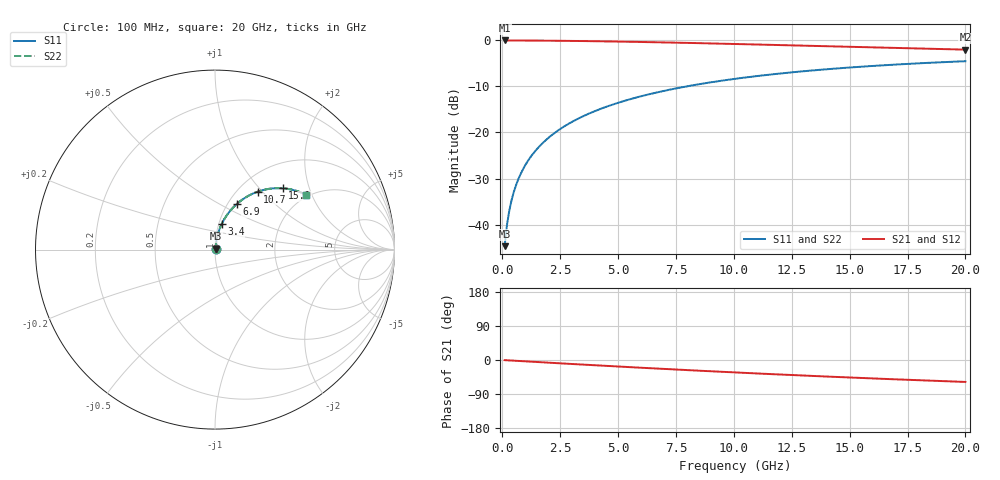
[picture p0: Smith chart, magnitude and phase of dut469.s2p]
! Touchstone file exported from HFSS 2026.1.0
!  File:  C:/ffzhzh/LocalFiles/Ansys_Project_Files/temp_train_BSMRDL_469_1783013627_55676.aedt
!  Generated:  01:35:27 AM Jul  3, 2026
!  Design:  BSMRDL
!  Project:  temp_train_BSMRDL_469_1783013627_55676
! Variables:
!  h_bsmrdl = 5.91um
!  h_ox = 20um
!  h_rdl = 5um
!  h_sub = 80um
!  h_tmrdl = 5um
!  h_tsv = 80um
!  h_via = 3um
!  l_bsmrdl = 841.24um
!  l_sub = 1241.24um
!  l_tmrdl = 200um
!  m_sub = 200um
!  pitch = 58.63um
!  r_tsv = 6um
!  s_tmrdl = 10um
!  w_bsmrdl = 14.05um
!  w_sub = 500um
!  w_tmrdl = 12um
!  x_tsv_center1 = 206um
!  x_tsv_center2 = 1061.29um
!  x_tsv_center3 = 1273.29um
!  x_tsv_center4 = 2128.58um
!  x_tsv_center5 = 2340.58um
!  x_tsv_center6 = 3195.87um
# GHz S MA R 50.000000
! Terminal data exported
! Port[1] = BSM_RDL1_1_T1
! Port[2] = BSM_RDL1_1_T2
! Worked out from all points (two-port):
!   200 points, 100 MHz to 20 GHz, reference 50 ohm
!   highest |S21| = -0.03 dB at 100 MHz (marker M1); lowest = -2.0 dB at 20 GHz (marker M2)
!   |S21| within 3 dB of the highest: start of sweep to end of sweep
!   lowest |S11| = -44.7 dB at 100 MHz (marker M3), VSWR 1.01, Z = 50.4 + j0.458 ohm
!   |S11| at or under -10 dB: start of sweep to 7.963 GHz
!   |S22| runs from -44.7 to -4.5 dB; largest |S21 - S12| = 1e-14
!   S11 on the Smith chart (normalised r, x): 100 MHz: 1.01, +0.01; 3.4 GHz: 1.03, +0.30; 6.9 GHz: 1.10, +0.60; 10.7 GHz: 1.23, +0.94; 15.1 GHz: 1.47, +1.35; 20 GHz: 1.94, +1.83
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0.1  0.005834 51.2  0.9964 -0.4  0.9964 -0.4  0.005834 51.2
! Gamma 0 0 0 0
! Port Impedance 50 0 50 0
0.2  0.009821 67.0  0.9962 -0.7  0.9962 -0.7  0.009821 67.0
0.3  0.01408 73.1  0.9961 -1.1  0.9961 -1.1  0.01408 73.1
0.4  0.01839 76.2  0.9959 -1.4  0.9959 -1.4  0.01839 76.2
0.5  0.02273 78.0  0.9957 -1.8  0.9957 -1.8  0.02273 78.0
0.7  0.03143 79.8  0.9953 -2.5  0.9953 -2.5  0.03143 79.8
1  0.0445 80.8  0.9946 -3.6  0.9946 -3.6  0.0445 80.8
1.4  0.06188 80.7  0.9934 -5.0  0.9934 -5.0  0.06188 80.7
2  0.08773 79.5  0.9909 -7.1  0.9909 -7.1  0.08773 79.5
2.6  0.1132 77.8  0.9876 -9.1  0.9876 -9.1  0.1132 77.8
3.4  0.1463 75.4  0.9823 -11.9  0.9823 -11.9  0.1463 75.4
3.5  0.1504 75.1  0.9816 -12.2  0.9816 -12.2  0.1504 75.1
5  0.2098 70.4  0.9691 -17.2  0.9691 -17.2  0.2098 70.4
6.8  0.2762 64.9  0.951 -23.0  0.951 -23.0  0.2762 64.9
6.9  0.2797 64.6  0.9499 -23.3  0.9499 -23.3  0.2797 64.6
8.4  0.3307 60.1  0.9327 -27.9  0.9327 -27.9  0.3306 60.2
10.1  0.3835 55.3  0.9118 -33.0  0.9118 -33.0  0.3835 55.3
10.7  0.4009 53.6  0.9042 -34.7  0.9042 -34.7  0.4009 53.6
13.4  0.4712 46.4  0.8695 -42.1  0.8695 -42.1  0.4712 46.4
15.1  0.509 42.1  0.8481 -46.4  0.8481 -46.4  0.509 42.2
16.7  0.5404 38.3  0.8287 -50.4  0.8287 -50.4  0.5403 38.3
20  0.5934 30.9  0.7923 -57.9  0.7923 -57.9  0.5933 31.0
